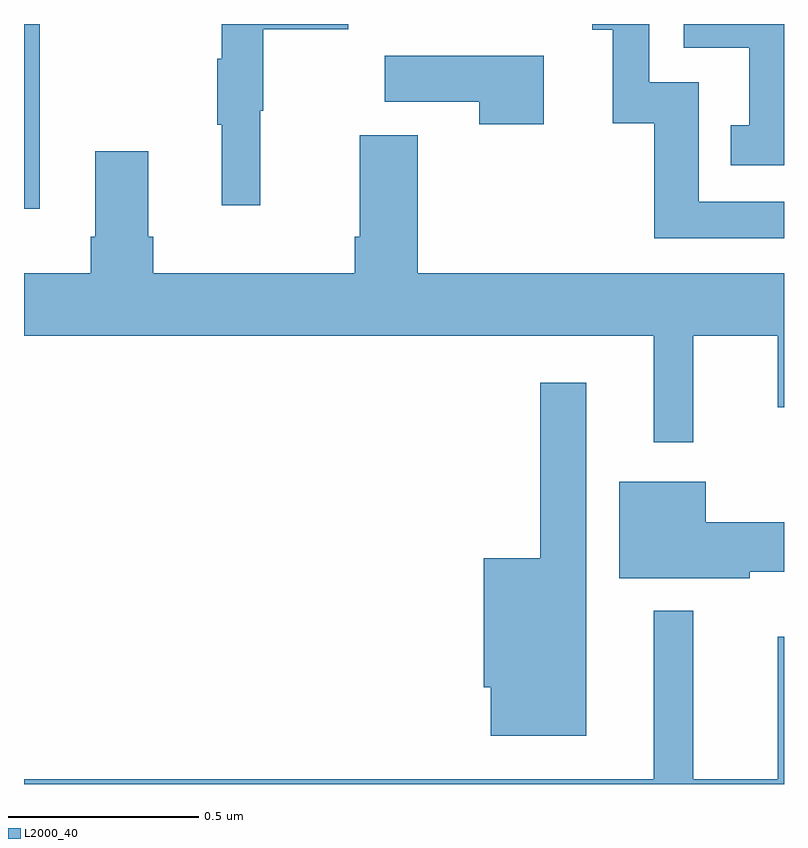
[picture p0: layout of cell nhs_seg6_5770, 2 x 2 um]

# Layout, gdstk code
import gdstk
lib = gdstk.Library(unit=1e-6, precision=1e-09)
def R(c, l, rs):  # rectangles x0, y0, x1, y1
    for r in rs: c.add(gdstk.rectangle(r[:2], r[2:], *l))
def P(c, l, *ps):  # polygons
    for p in ps: c.add(gdstk.Polygon(p, *l))
L2000_40 = (2000, 40)

nhs_seg6_5770 = lib.new_cell('nhs_seg6_5770')
R(nhs_seg6_5770, L2000_40, [(187,937.014,187.042,937.5)])
P(nhs_seg6_5770, L2000_40, [(189,937.5),(188.736,937.5),(188.736,937.437),(188.909,937.437),(188.909,937.233),(188.86,937.233),(188.86,937.128),(189,937.128)],
  [(187.622,937.272),(187.63,937.272),(187.63,937.486),(187.853,937.486),(187.853,937.5),(187.52,937.5),(187.52,937.409),(187.509,937.409),(187.509,937.235),(187.52,937.235),(187.52,937.023),(187.622,937.023)],
  [(189,937.032),(188.775,937.032),(188.775,937.347),(188.646,937.347),(188.646,937.5),(188.496,937.5),(188.496,937.485),(188.549,937.485),(188.549,937.239),(188.659,937.239),(188.659,936.936),(189,936.936)],
  [(188.368,937.417),(187.949,937.417),(187.949,937.295),(188.198,937.295),(188.198,937.236),(188.368,937.236)],
  [(188.761,936.68),(188.984,936.68),(188.984,936.492),(189,936.492),(189,936.844),(188.036,936.844),(188.036,937.207),(187.883,937.207),(187.883,936.94),(187.871,936.94),(187.871,936.844),(187.34,936.844),(187.34,936.94),(187.327,936.94),(187.327,937.165),(187.187,937.165),(187.187,936.94),(187.175,936.94),(187.175,936.844),(187,936.844),(187,936.68),(188.657,936.68),(188.657,936.399),(188.761,936.399)],
  [(188.479,936.556),(188.358,936.556),(188.358,936.094),(188.21,936.094),(188.21,935.754),(188.228,935.754),(188.228,935.627),(188.479,935.627)],
  [(188.91,936.059),(189,936.059),(189,936.189),(188.794,936.189),(188.794,936.295),(188.567,936.295),(188.567,936.041),(188.91,936.041)],
  [(189,935.887),(188.984,935.887),(188.984,935.512),(188.761,935.512),(188.761,935.956),(188.657,935.956),(188.657,935.512),(187,935.512),(187,935.5),(189,935.5)])

lib.write_gds('nhs_seg6_5770.gds')
